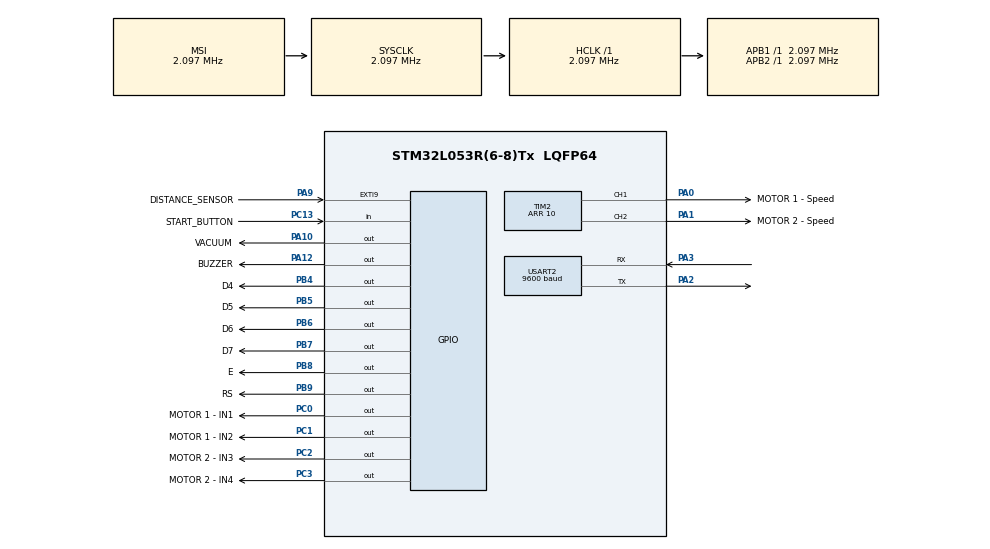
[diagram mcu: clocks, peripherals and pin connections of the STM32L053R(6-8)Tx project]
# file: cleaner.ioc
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Dma.Request0=USART2_TX
Dma.USART2_TX.0.Direction=DMA_MEMORY_TO_PERIPH
Dma.USART2_TX.0.Instance=DMA1_Channel4
Dma.USART2_TX.0.MemDataAlignment=DMA_MDATAALIGN_BYTE
Dma.USART2_TX.0.MemInc=DMA_MINC_ENABLE
Dma.USART2_TX.0.Mode=DMA_NORMAL
Dma.USART2_TX.0.PeriphDataAlignment=DMA_PDATAALIGN_BYTE
Dma.USART2_TX.0.PeriphInc=DMA_PINC_DISABLE
Dma.USART2_TX.0.Priority=DMA_PRIORITY_LOW
Mcu.Family=STM32L0
Mcu.Name=STM32L053R(6-8)Tx
Mcu.Package=LQFP64
NVIC.DMA1_Channel4_5_6_7_IRQn=true\:0\:0\:false\:false\:true\:false\:true
NVIC.EXTI4_15_IRQn=true\:0\:0\:false\:false\:true\:true\:true
NVIC.USART2_IRQn=true\:0\:0\:false\:false\:true\:true\:true
PA0.GPIO_Label=MOTOR 1 - Speed
PA0.Signal=S_TIM2_CH1
PA1.GPIO_Label=MOTOR 2 - Speed
PA1.Signal=S_TIM2_CH2
PA10.GPIO_Label=VACUUM
PA10.Signal=GPIO_Output
PA12.GPIO_Label=BUZZER
PA12.Signal=GPIO_Output
PA2.Mode=Asynchronous
PA2.Signal=USART2_TX
PA3.Mode=Asynchronous
PA3.Signal=USART2_RX
PA9.GPIO_Label=DISTANCE_SENSOR
PA9.GPIO_PuPd=GPIO_PULLDOWN
PA9.Signal=GPXTI9
PB4.GPIO_Label=D4
PB4.Signal=GPIO_Output
PB5.GPIO_Label=D5
PB5.Signal=GPIO_Output
PB6.GPIO_Label=D6
PB6.Signal=GPIO_Output
PB7.GPIO_Label=D7
PB7.Signal=GPIO_Output
PB8.GPIO_Label=E
PB8.Signal=GPIO_Output
PB9.GPIO_Label=RS
PB9.Signal=GPIO_Output
PC0.GPIO_Label=MOTOR 1 - IN1
PC0.Signal=GPIO_Output
PC1.GPIO_Label=MOTOR 1 - IN2
PC1.Signal=GPIO_Output
PC13.GPIO_Label=START_BUTTON
PC13.Signal=GPIO_Input
PC2.GPIO_Label=MOTOR 2 - IN3
PC2.Signal=GPIO_Output
PC3.GPIO_Label=MOTOR 2 - IN4
PC3.Signal=GPIO_Output
ProjectManager.HeapSize=0x200
ProjectManager.StackSize=0x400
ProjectManager.TargetToolchain=STM32CubeIDE
RCC.AHBFreq_Value=2097000
RCC.APB1Freq_Value=2097000
RCC.APB1TimFreq_Value=2097000
RCC.APB2Freq_Value=2097000
RCC.APB2TimFreq_Value=2097000
RCC.HSE_VALUE=8000000
RCC.HSI16_VALUE=16000000
RCC.HSI48_VALUE=48000000
RCC.HSI_VALUE=16000000
RCC.LSE_VALUE=32768
RCC.MSI_VALUE=2097000
RCC.SYSCLKFreq_VALUE=2097000
RCC.VCOOutputFreq_Value=48000000
SH.S_TIM2_CH1.0=TIM2_CH1,PWM Generation1 CH1
SH.S_TIM2_CH2.0=TIM2_CH2,PWM Generation2 CH2
TIM2.Channel-PWM\ Generation1\ CH1=TIM_CHANNEL_1
TIM2.Channel-PWM\ Generation2\ CH2=TIM_CHANNEL_2
TIM2.Period=10
TIM2.Pulse-PWM\ Generation1\ CH1=2
TIM2.Pulse-PWM\ Generation2\ CH2=7
USART2.BaudRate=9600
USART2.Mode=MODE_TX_RX
USART2.VirtualMode-Asynchronous=VM_ASYNC
USART2.WordLength=WORDLENGTH_8B
board=custom

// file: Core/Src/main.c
/* USER CODE BEGIN Header */
/**
  ******************************************************************************
  * @file           : main.c
  * @brief          : Main program body
  ******************************************************************************
  * @attention
  *
  * Copyright (c) 2022 STMicroelectronics.
  * All rights reserved.
  *
  * This software is licensed under terms that can be found in the LICENSE file
  * in the root directory of this software component.
  * If no LICENSE file comes with this software, it is provided AS-IS.
  *
  ******************************************************************************
  */
/* USER CODE END Header */
#include "main.h"

/* USER CODE BEGIN Includes */
#include <string.h>
#include <stdlib.h>
#include <stdbool.h>
#include "types/map.h"
#include "types/cleaner.h"
#include "map_communication.h"
#include "driving.h"
#include "lcd.h"
/* USER CODE END Includes */

TIM_HandleTypeDef htim2;

UART_HandleTypeDef huart2;
DMA_HandleTypeDef hdma_usart2_tx;

/* USER CODE BEGIN PV */

static void set_buzzer(int millisec) {
	HAL_GPIO_WritePin(BUZZER_GPIO_Port, BUZZER_Pin, GPIO_PIN_SET);
	HAL_Delay(millisec);
	HAL_GPIO_WritePin(BUZZER_GPIO_Port, BUZZER_Pin, GPIO_PIN_RESET);
}

static void signal_cleaner_ready_for_map_receiving() {
	set_buzzer(500);
}

static void signal_map_received() {
	set_buzzer(500);
	HAL_Delay(300);
	set_buzzer(500);
}

static void signal_cleaner_error() {
	set_buzzer(300);
	HAL_Delay(150);
	set_buzzer(300);
	HAL_Delay(150);
	set_buzzer(300);
}

/* USER CODE END PV */

void SystemClock_Config(void);
static void MX_GPIO_Init(void);
static void MX_USART2_UART_Init(void);
static void MX_DMA_Init(void);
static void MX_TIM2_Init(void);

/* USER CODE BEGIN 0 */

Lcd_HandleTypeDef lcd;
bool is_obstacle_found = false;
bool is_driving = false;

/* USER CODE END 0 */

int main(void)
{

  /* MCU Configuration--------------------------------------------------------*/

  /* Reset of all peripherals, Initializes the Flash interface and the Systick. */
  HAL_Init();

  /* Configure the system clock */
  SystemClock_Config();

  /* Initialize all configured peripherals */
  MX_DMA_Init();
  MX_GPIO_Init();
  MX_USART2_UART_Init();
  MX_TIM2_Init();
  /* USER CODE BEGIN 2 */

  // https://www.micropeta.com/video60
	// Lcd_PortType ports[] = { D4_GPIO_Port, D5_GPIO_Port, D6_GPIO_Port, D7_GPIO_Port };
	Lcd_PortType lcd_ports[] = { D4_GPIO_Port, D5_GPIO_Port, D6_GPIO_Port, D7_GPIO_Port };
	// Lcd_PinType pins[] = {D4_Pin, D5_Pin, D6_Pin, D7_Pin};
	Lcd_PinType lcd_pins[] = { D4_Pin, D5_Pin, D6_Pin, D7_Pin };
	// Lcd_create(ports, pins, RS_GPIO_Port, RS_Pin, EN_GPIO_Port, EN_Pin, LCD_4_BIT_MODE);
	lcd = Lcd_create(lcd_ports, lcd_pins, RS_GPIO_Port, RS_Pin, E_GPIO_Port, E_Pin, LCD_4_BIT_MODE);

  /* USER CODE END 2 */

  /* Infinite loop */
  /* USER CODE BEGIN WHILE */

  // testing pins
//	HAL_TIM_Base_Start(&htim2);
//	HAL_TIM_PWM_Start(&htim2, TIM_CHANNEL_1);
//	HAL_TIM_PWM_Start(&htim2, TIM_CHANNEL_2);
//  HAL_GPIO_WritePin(MOTOR_1___IN1_GPIO_Port, MOTOR_1___IN1_Pin, GPIO_PIN_SET);
//  HAL_GPIO_WritePin(MOTOR_1___IN2_GPIO_Port, MOTOR_1___IN2_Pin, GPIO_PIN_SET);
//  HAL_GPIO_WritePin(MOTOR_2___IN3_GPIO_Port, MOTOR_2___IN3_Pin, GPIO_PIN_SET);
//  HAL_GPIO_WritePin(MOTOR_2___IN4_GPIO_Port, MOTOR_2___IN4_Pin, GPIO_PIN_SET);
//  HAL_GPIO_WritePin(VACUUM_GPIO_Port, VACUUM_Pin, GPIO_PIN_SET);
//  HAL_GPIO_WritePin(D4_GPIO_Port, D4_Pin, GPIO_PIN_SET);
//	HAL_GPIO_WritePin(D5_GPIO_Port, D5_Pin, GPIO_PIN_SET);
//	HAL_GPIO_WritePin(D6_GPIO_Port, D6_Pin, GPIO_PIN_SET);
//	HAL_GPIO_WritePin(D7_GPIO_Port, D7_Pin, GPIO_PIN_SET);
//	HAL_GPIO_WritePin(RS_GPIO_Port, RS_Pin, GPIO_PIN_SET);
//	HAL_GPIO_WritePin(E_GPIO_Port, E_Pin, GPIO_PIN_SET);
  while (1)
  {
		Lcd_clear_and_write(&lcd, "Waiting for map");

  	signal_cleaner_ready_for_map_receiving();
		MapInfo mapInfo;
		initialize_map(&huart2, &mapInfo);
		signal_map_received();

		Lcd_clear_and_write(&lcd, "Press the user button to start");
		// wait for the user to click on the start button
		while (HAL_GPIO_ReadPin(START_BUTTON_GPIO_Port, START_BUTTON_Pin) != GPIO_PIN_RESET);
		HAL_Delay(1000);
		//	PWM commands
		HAL_TIM_Base_Start(&htim2);
		HAL_TIM_PWM_Start(&htim2, TIM_CHANNEL_1);
		HAL_TIM_PWM_Start(&htim2, TIM_CHANNEL_2);

		MotorsInfo motorsInfo = {
				.left1_GPIOType = MOTOR_1___IN1_GPIO_Port, .left1_pin = MOTOR_1___IN1_Pin,
				.left2_GPIOType = MOTOR_1___IN2_GPIO_Port, .left2_pin = MOTOR_1___IN2_Pin,
				.right1_GPIOType = MOTOR_2___IN3_GPIO_Port, .right1_pin = MOTOR_2___IN3_Pin,
				.right2_GPIOType = MOTOR_2___IN4_GPIO_Port, .right2_pin = MOTOR_2___IN4_Pin,
		};
		CleanComponentsInfo cleanComponentsInfo = { .vacuum_GPIOType = VACUUM_GPIO_Port, .vacuum_pin = VACUUM_Pin };

		is_driving = true;

		Lcd_clear_and_write(&lcd, "Start cleaning");
		send_start_command(&huart2);
		int result_code = start_drive(&mapInfo, &is_obstacle_found, &huart2, &lcd, &motorsInfo, &cleanComponentsInfo);
		is_driving = false;
		send_end_command(&huart2, result_code);

		if (result_code != 0)
			signal_cleaner_error();

		char end_cleaning_message[33];
		snprintf(end_cleaning_message, 32, "Cleaning complete with code %d", result_code);
		Lcd_clear_and_write(&lcd, end_cleaning_message);

    /* USER CODE END WHILE */

    /* USER CODE BEGIN 3 */
		// deallocate the array representing the map
		free(mapInfo.map[0]);
		// deallocate the array of pointers to map rows
		free(mapInfo.map);

		HAL_TIM_PWM_Stop(&htim2, TIM_CHANNEL_1);
		HAL_TIM_PWM_Stop(&htim2, TIM_CHANNEL_2);

		HAL_Delay(2000); // wait for the user to see the result code
  }
  /* USER CODE END 3 */
}

void SystemClock_Config(void)
{
  RCC_OscInitTypeDef RCC_OscInitStruct = {0};
  RCC_ClkInitTypeDef RCC_ClkInitStruct = {0};
  RCC_PeriphCLKInitTypeDef PeriphClkInit = {0};

  /** Configure the main internal regulator output voltage
  */
  __HAL_PWR_VOLTAGESCALING_CONFIG(PWR_REGULATOR_VOLTAGE_SCALE1);
  /** Initializes the RCC Oscillators according to the specified parameters
  * in the RCC_OscInitTypeDef structure.
  */
  RCC_OscInitStruct.OscillatorType = RCC_OSCILLATORTYPE_MSI;
  RCC_OscInitStruct.MSIState = RCC_MSI_ON;
  RCC_OscInitStruct.MSICalibrationValue = 0;
  RCC_OscInitStruct.MSIClockRange = RCC_MSIRANGE_5;
  RCC_OscInitStruct.PLL.PLLState = RCC_PLL_NONE;
  if (HAL_RCC_OscConfig(&RCC_OscInitStruct) != HAL_OK)
  {
    Error_Handler();
  }
  /** Initializes the CPU, AHB and APB buses clocks
  */
  RCC_ClkInitStruct.ClockType = RCC_CLOCKTYPE_HCLK|RCC_CLOCKTYPE_SYSCLK
                              |RCC_CLOCKTYPE_PCLK1|RCC_CLOCKTYPE_PCLK2;
  RCC_ClkInitStruct.SYSCLKSource = RCC_SYSCLKSOURCE_MSI;
  RCC_ClkInitStruct.AHBCLKDivider = RCC_SYSCLK_DIV1;
  RCC_ClkInitStruct.APB1CLKDivider = RCC_HCLK_DIV1;
  RCC_ClkInitStruct.APB2CLKDivider = RCC_HCLK_DIV1;

  if (HAL_RCC_ClockConfig(&RCC_ClkInitStruct, FLASH_LATENCY_0) != HAL_OK)
  {
    Error_Handler();
  }
  PeriphClkInit.PeriphClockSelection = RCC_PERIPHCLK_USART2;
  PeriphClkInit.Usart2ClockSelection = RCC_USART2CLKSOURCE_PCLK1;
  if (HAL_RCCEx_PeriphCLKConfig(&PeriphClkInit) != HAL_OK)
  {
    Error_Handler();
  }
}

static void MX_TIM2_Init(void)
{

  TIM_MasterConfigTypeDef sMasterConfig = {0};
  TIM_OC_InitTypeDef sConfigOC = {0};

  htim2.Instance = TIM2;
  htim2.Init.Prescaler = 0;
  htim2.Init.CounterMode = TIM_COUNTERMODE_UP;
  htim2.Init.Period = 10;
  htim2.Init.ClockDivision = TIM_CLOCKDIVISION_DIV1;
  htim2.Init.AutoReloadPreload = TIM_AUTORELOAD_PRELOAD_DISABLE;
  if (HAL_TIM_PWM_Init(&htim2) != HAL_OK)
  {
    Error_Handler();
  }
  sMasterConfig.MasterOutputTrigger = TIM_TRGO_RESET;
  sMasterConfig.MasterSlaveMode = TIM_MASTERSLAVEMODE_DISABLE;
  if (HAL_TIMEx_MasterConfigSynchronization(&htim2, &sMasterConfig) != HAL_OK)
  {
    Error_Handler();
  }
  sConfigOC.OCMode = TIM_OCMODE_PWM1;
  sConfigOC.Pulse = 2;
  sConfigOC.OCPolarity = TIM_OCPOLARITY_HIGH;
  sConfigOC.OCFastMode = TIM_OCFAST_DISABLE;
  if (HAL_TIM_PWM_ConfigChannel(&htim2, &sConfigOC, TIM_CHANNEL_1) != HAL_OK)
  {
    Error_Handler();
  }
  sConfigOC.Pulse = 7;
  if (HAL_TIM_PWM_ConfigChannel(&htim2, &sConfigOC, TIM_CHANNEL_2) != HAL_OK)
  {
    Error_Handler();
  }
  HAL_TIM_MspPostInit(&htim2);

}

static void MX_USART2_UART_Init(void)
{

  huart2.Instance = USART2;
  huart2.Init.BaudRate = 9600;
  huart2.Init.WordLength = UART_WORDLENGTH_8B;
  huart2.Init.StopBits = UART_STOPBITS_1;
  huart2.Init.Parity = UART_PARITY_NONE;
  huart2.Init.Mode = UART_MODE_TX_RX;
  huart2.Init.HwFlowCtl = UART_HWCONTROL_NONE;
  huart2.Init.OverSampling = UART_OVERSAMPLING_16;
  huart2.Init.OneBitSampling = UART_ONE_BIT_SAMPLE_DISABLE;
  huart2.AdvancedInit.AdvFeatureInit = UART_ADVFEATURE_NO_INIT;
  if (HAL_UART_Init(&huart2) != HAL_OK)
  {
    Error_Handler();
  }
  /* USER CODE BEGIN USART2_Init 2 */

  HAL_NVIC_SetPriority(USART2_IRQn, 0, 0);
  HAL_NVIC_EnableIRQ(USART2_IRQn);
  /* USER CODE END USART2_Init 2 */

}

static void MX_DMA_Init(void)
{

  /* DMA controller clock enable */
  __HAL_RCC_DMA1_CLK_ENABLE();

  /* DMA interrupt init */
  /* DMA1_Channel4_5_6_7_IRQn interrupt configuration */
  HAL_NVIC_SetPriority(DMA1_Channel4_5_6_7_IRQn, 0, 0);
  HAL_NVIC_EnableIRQ(DMA1_Channel4_5_6_7_IRQn);

}

static void MX_GPIO_Init(void)
{
  GPIO_InitTypeDef GPIO_InitStruct = {0};

  /* GPIO Ports Clock Enable */
  __HAL_RCC_GPIOC_CLK_ENABLE();
  __HAL_RCC_GPIOA_CLK_ENABLE();
  __HAL_RCC_GPIOB_CLK_ENABLE();

  /*Configure GPIO pin Output Level */
  HAL_GPIO_WritePin(GPIOC, MOTOR_1___IN1_Pin|MOTOR_1___IN2_Pin|MOTOR_2___IN3_Pin|MOTOR_2___IN4_Pin, GPIO_PIN_RESET);

  /*Configure GPIO pin Output Level */
  HAL_GPIO_WritePin(GPIOA, VACUUM_Pin|BUZZER_Pin, GPIO_PIN_RESET);

  /*Configure GPIO pin Output Level */
  HAL_GPIO_WritePin(GPIOB, D4_Pin|D5_Pin|D6_Pin|D7_Pin
                          |E_Pin|RS_Pin, GPIO_PIN_RESET);

  /*Configure GPIO pin : START_BUTTON_Pin */
  GPIO_InitStruct.Pin = START_BUTTON_Pin;
  GPIO_InitStruct.Mode = GPIO_MODE_INPUT;
  GPIO_InitStruct.Pull = GPIO_NOPULL;
  HAL_GPIO_Init(START_BUTTON_GPIO_Port, &GPIO_InitStruct);

  /*Configure GPIO pins : MOTOR_1___IN1_Pin MOTOR_1___IN2_Pin MOTOR_2___IN3_Pin MOTOR_2___IN4_Pin */
  GPIO_InitStruct.Pin = MOTOR_1___IN1_Pin|MOTOR_1___IN2_Pin|MOTOR_2___IN3_Pin|MOTOR_2___IN4_Pin;
  GPIO_InitStruct.Mode = GPIO_MODE_OUTPUT_PP;
  GPIO_InitStruct.Pull = GPIO_NOPULL;
  GPIO_InitStruct.Speed = GPIO_SPEED_FREQ_LOW;
  HAL_GPIO_Init(GPIOC, &GPIO_InitStruct);

  /*Configure GPIO pin : DISTANCE_SENSOR_Pin */
  GPIO_InitStruct.Pin = DISTANCE_SENSOR_Pin;
  GPIO_InitStruct.Mode = GPIO_MODE_IT_RISING;
  GPIO_InitStruct.Pull = GPIO_PULLDOWN;
  HAL_GPIO_Init(DISTANCE_SENSOR_GPIO_Port, &GPIO_InitStruct);

  /*Configure GPIO pins : VACUUM_Pin BUZZER_Pin */
  GPIO_InitStruct.Pin = VACUUM_Pin|BUZZER_Pin;
  GPIO_InitStruct.Mode = GPIO_MODE_OUTPUT_PP;
  GPIO_InitStruct.Pull = GPIO_NOPULL;
  GPIO_InitStruct.Speed = GPIO_SPEED_FREQ_LOW;
  HAL_GPIO_Init(GPIOA, &GPIO_InitStruct);

  /*Configure GPIO pins : D4_Pin D5_Pin D6_Pin D7_Pin
                           E_Pin RS_Pin */
  GPIO_InitStruct.Pin = D4_Pin|D5_Pin|D6_Pin|D7_Pin
                          |E_Pin|RS_Pin;
  GPIO_InitStruct.Mode = GPIO_MODE_OUTPUT_PP;
  GPIO_InitStruct.Pull = GPIO_NOPULL;
  GPIO_InitStruct.Speed = GPIO_SPEED_FREQ_LOW;
  HAL_GPIO_Init(GPIOB, &GPIO_InitStruct);

  /* EXTI interrupt init*/
  HAL_NVIC_SetPriority(EXTI4_15_IRQn, 0, 0);
  HAL_NVIC_EnableIRQ(EXTI4_15_IRQn);

}

/* USER CODE BEGIN 4 */

void HAL_GPIO_EXTI_Callback(uint16_t GPIO_Pin)
{
	if(GPIO_Pin == GPIO_PIN_9 && is_driving) // If The INT Source Is EXTI Line9 (A9 Pin)
	{
		HAL_NVIC_DisableIRQ(EXTI4_15_IRQn);
		is_obstacle_found = true;
	}
}

/* USER CODE END 4 */

void Error_Handler(void)
{
  __disable_irq();
  while (1)
  {
  }
}
